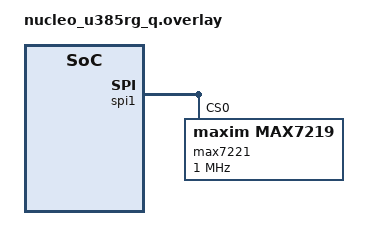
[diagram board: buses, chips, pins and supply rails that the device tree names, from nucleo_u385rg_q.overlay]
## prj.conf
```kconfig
# Basic configuration for hello world application
CONFIG_GPIO=y
CONFIG_I2C=y
CONFIG_SPI=y
CONFIG_FLASH=y

# Debug Configuration
CONFIG_DEBUG=y

# Disable watchdog for debugging
CONFIG_WATCHDOG=n

# Logging
CONFIG_LOG=y
CONFIG_CONSOLE=y
CONFIG_SERIAL=y
CONFIG_UART_CONSOLE=y
CONFIG_LOG_MAX_LEVEL=4
CONFIG_LOG_DEFAULT_LEVEL=4
CONFIG_KERNEL_LOG_LEVEL_OFF=y
CONFIG_LOG_RUNTIME_FILTERING=y
CONFIG_LOG_BUFFER_SIZE=32768

# create build/zephyr/zephyr.lst
CONFIG_OUTPUT_DISASSEMBLY=y

# Shell configuration
CONFIG_SHELL=y
CONFIG_SHELL_BACKEND_SERIAL=y
CONFIG_SHELL_PROMPT_UART="dm_test_app:~$ "
CONFIG_SHELL_TAB=y
CONFIG_SHELL_TAB_AUTOCOMPLETION=y
CONFIG_SHELL_HISTORY=y
CONFIG_SHELL_HELP=y

# Shell subsystems
CONFIG_GPIO_SHELL=y
CONFIG_I2C_SHELL=y
CONFIG_SPI_SHELL=y
CONFIG_FLASH_SHELL=y
CONFIG_LOG_CMDS=y
```

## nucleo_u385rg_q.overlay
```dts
/*
 * Copyright (c) 2026 Tenstorrent AI ULC
 *
 * SPDX-License-Identifier: Apache-2.0
 */

/*
 * SPI test overlay for dm_test_app - nucleo_u385rg_q board only
 */
&spi1 {
	max7221: max7221@0 {
		compatible = "maxim,max7219";
		reg = <0>;
		spi-max-frequency = <1000000>;
		num-cascading = <1>;
		intensity = <8>;
		scan-limit = <7>;
	};
};
```

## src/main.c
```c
/*
 * Copyright (c) 2026 Tenstorrent AI ULC
 *
 * SPDX-License-Identifier: Apache-2.0
 */

#include <zephyr/kernel.h>
#include <zephyr/logging/log.h>
#include <zephyr/shell/shell.h>

LOG_MODULE_REGISTER(dm_test_app, LOG_LEVEL_INF);

int main(void)
{
	LOG_INF("Hello World! This is dm_test_app running on %s", CONFIG_BOARD);

	while (1) {
		k_sleep(K_SECONDS(5));
	}

	return 0;
}
```
